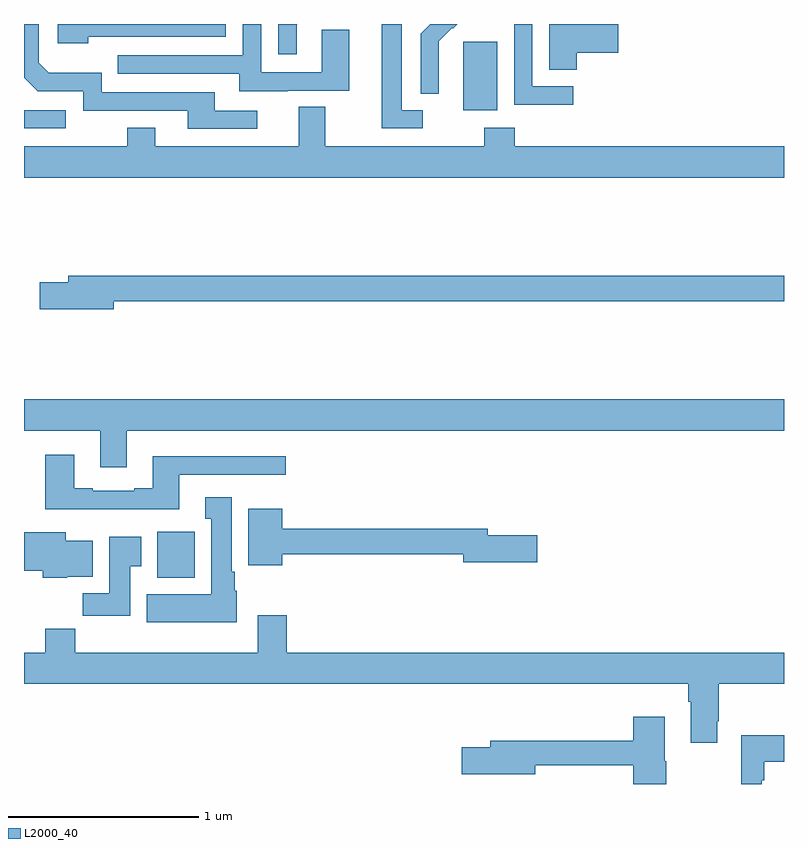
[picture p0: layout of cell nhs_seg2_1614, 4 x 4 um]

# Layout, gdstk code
import gdstk
lib = gdstk.Library(unit=1e-6, precision=1e-09)
def R(c, l, rs):  # rectangles x0, y0, x1, y1
    for r in rs: c.add(gdstk.rectangle(r[:2], r[2:], *l))
def P(c, l, *ps):  # polygons
    for p in ps: c.add(gdstk.Polygon(p, *l))
L2000_40 = (2000, 40)

nhs_seg2_1614 = lib.new_cell('nhs_seg2_1614')
R(nhs_seg2_1614, L2000_40, [(195.701,622.886,195.898,623.128), (195,625.251,195.22,625.347), (197.312,625.346,197.491,625.707)])
P(nhs_seg2_1614, L2000_40, [(196.387,625.449),(196.711,625.449),(196.711,625.769),(196.566,625.769),(196.566,625.545),(196.248,625.545),(196.248,625.8),(196.152,625.8),(196.152,625.635),(195.493,625.635),(195.493,625.539),(196.133,625.539),(196.133,625.445),(196.387,625.445)],
  [(196.228,625.344),(196.003,625.344),(196.003,625.44),(195.408,625.44),(195.408,625.543),(195.131,625.543),(195.078,625.596),(195.078,625.8),(195,625.8),(195,625.518),(195.072,625.446),(195.312,625.446),(195.312,625.344),(195.863,625.344),(195.863,625.248),(196.228,625.248)],
  [(195.338,625.734),(196.062,625.734),(196.062,625.8),(195.177,625.8),(195.177,625.7),(195.338,625.7)],
  [(197.184,625.586),(197.183,625.586),(197.183,625.709),(197.253,625.779),(197.256,625.776),(197.28,625.8),(197.138,625.8),(197.088,625.75),(197.088,625.432),(197.184,625.432)],
  [(197.89,625.473),(197.676,625.473),(197.676,625.8),(197.58,625.8),(197.58,625.375),(197.89,625.375)],
  [(197.909,625.649),(198.127,625.649),(198.127,625.8),(197.765,625.8),(197.765,625.558),(197.909,625.558)],
  [(196.435,625.797),(196.438,625.8),(196.338,625.8),(196.338,625.641),(196.435,625.641)],
  [(197.098,625.347),(196.987,625.347),(196.987,625.8),(196.883,625.8),(196.883,625.251),(197.098,625.251)],
  [(199,625.156),(197.582,625.156),(197.582,625.255),(197.422,625.255),(197.422,625.156),(196.585,625.156),(196.585,625.364),(196.445,625.364),(196.445,625.156),(195.691,625.156),(195.691,625.255),(195.544,625.255),(195.544,625.156),(195,625.156),(195,624.992),(199,624.992)],
  [(195.472,624.34),(199,624.34),(199,624.476),(195.233,624.476),(195.233,624.44),(195.084,624.44),(195.084,624.298),(195.472,624.298)],
  [(195.541,623.66),(199,623.66),(199,623.824),(195,623.824),(195,623.66),(195.401,623.66),(195.401,623.466),(195.541,623.466)],
  [(195.817,623.427),(196.378,623.427),(196.378,623.524),(195.677,623.524),(195.677,623.356),(195.581,623.356),(195.581,623.343),(195.361,623.343),(195.361,623.356),(195.265,623.356),(195.265,623.533),(195.113,623.533),(195.113,623.246),(195.817,623.246)],
  [(196.12,622.818),(196.108,622.818),(196.108,622.918),(196.093,622.918),(196.093,623.308),(195.953,623.308),(195.953,623.195),(195.986,623.195),(195.986,622.798),(195.647,622.798),(195.647,622.652),(196.12,622.652)],
  [(196.36,623.008),(197.312,623.008),(197.312,622.966),(197.701,622.966),(197.701,623.108),(197.44,623.108),(197.44,623.144),(196.36,623.144),(196.36,623.248),(196.181,623.248),(196.181,622.952),(196.36,622.952)],
  [(195.228,622.892),(195.361,622.892),(195.361,623.08),(195.22,623.08),(195.22,623.124),(195,623.124),(195,622.922),(195.098,622.922),(195.098,622.886),(195.228,622.886)],
  [(195.559,622.945),(195.616,622.945),(195.616,623.101),(195.449,623.101),(195.449,622.804),(195.31,622.804),(195.31,622.686),(195.559,622.686)],
  [(198.497,622.232),(198.509,622.232),(198.509,622.017),(198.649,622.017),(198.649,622.129),(198.657,622.129),(198.657,622.328),(199,622.328),(199,622.492),(196.382,622.492),(196.382,622.687),(196.229,622.687),(196.229,622.492),(195.269,622.492),(195.269,622.616),(195.113,622.616),(195.113,622.492),(195,622.492),(195,622.328),(198.497,622.328)],
  [(198.381,621.921),(198.373,621.921),(198.373,622.153),(198.206,622.153),(198.206,622.027),(197.453,622.027),(197.453,621.993),(197.304,621.993),(197.304,621.851),(197.692,621.851),(197.692,621.898),(198.206,621.898),(198.206,621.8),(198.381,621.8)],
  [(198.882,621.821),(198.895,621.821),(198.895,621.917),(199,621.917),(199,622.057),(198.774,622.057),(198.774,621.8),(198.882,621.8)])

lib.write_gds('nhs_seg2_1614.gds')
